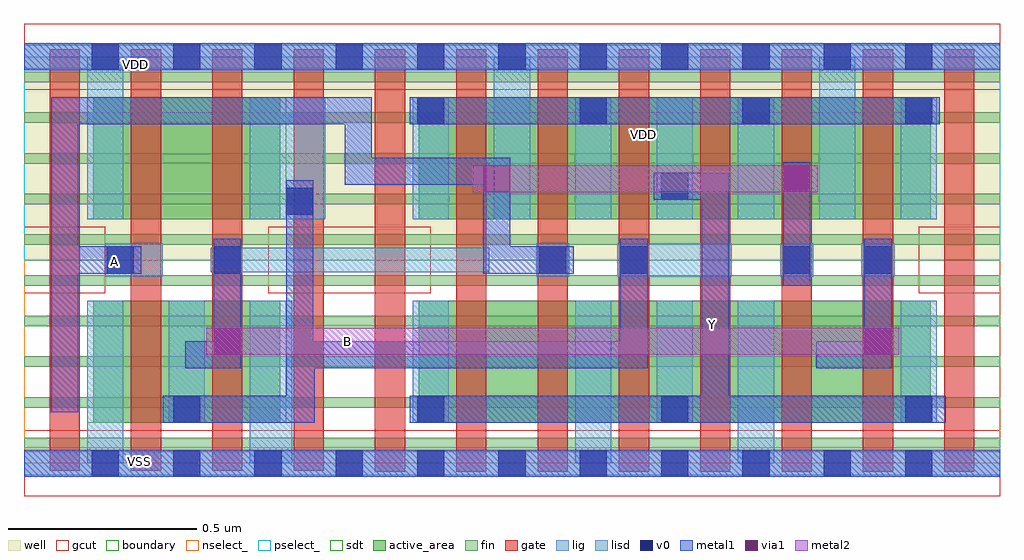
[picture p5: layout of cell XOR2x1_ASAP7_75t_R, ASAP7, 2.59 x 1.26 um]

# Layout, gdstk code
import gdstk
lib = gdstk.Library(unit=1e-6, precision=2.5e-10)
def R(c, l, rs):  # rectangles x0, y0, x1, y1
    for r in rs: c.add(gdstk.rectangle(r[:2], r[2:], *l))
def A(c, l, x, y, w, h, nx, ny, dx, dy):  # array of equal rectangles
    R(c, l, [(x+i*dx, y+j*dy, x+i*dx+w, y+j*dy+h) for i in range(nx) for j in range(ny)])
def P(c, l, *ps):  # polygons
    for p in ps: c.add(gdstk.Polygon(p, *l))
well = (1, 0)
fin = (2, 0)
gate = (7, 0)
gcut = (10, 0)
active_area = (11, 0)
nselect_ = (12, 0)
pselect_ = (13, 0)
lig = (16, 0)
lisd = (17, 0)
v0 = (18, 0)
metal1 = (19, 0)
metal2 = (20, 0)
via1 = (21, 0)
sdt = (88, 0)
boundary = (100, 0)

xor2x1_asap7_75t_r = lib.new_cell('XOR2x1_ASAP7_75t_R')
R(xor2x1_asap7_75t_r, well, [(0,0.54,2.592,1.08)])
A(xor2x1_asap7_75t_r, fin, 0, 0.04, 1.944, 0.028, 1, 10, 0, 0.108)
A(xor2x1_asap7_75t_r, fin, 1.512, 0.04, 1.08, 0.028, 1, 10, 0, 0.108)
A(xor2x1_asap7_75t_r, gate, 0.932, -0.022, 0.08, 1.122, 4, 1, 0.216, 0)
A(xor2x1_asap7_75t_r, gate, 1.796, -0.022, 0.08, 1.122, 4, 1, 0.216, 0)
A(xor2x1_asap7_75t_r, gate, 0.068, -0.02, 0.08, 1.12, 4, 1, 0.216, 0)
R(xor2x1_asap7_75t_r, gate, [(1.58,-0.022,1.66,1.1), (1.796,-0.022,1.876,1.1)])
R(xor2x1_asap7_75t_r, gcut, [(0,-0.088,1.944,0.088), (1.512,-0.088,2.592,0.088), (0,0.452,0.216,0.628), (0.648,0.452,1.08,0.628), (2.376,0.452,2.592,0.628), (0,0.992,1.944,1.168), (1.512,0.992,2.592,1.168)])
R(xor2x1_asap7_75t_r, active_area, [(0.184,0.108,0.68,0.432), (1.048,0.108,1.76,0.432), (1.696,0.108,2.408,0.432), (0.184,0.648,0.68,0.972), (1.048,0.648,1.76,0.972), (1.696,0.648,2.408,0.972)])
R(xor2x1_asap7_75t_r, nselect_, [(0,0,1.944,0.54), (1.512,0,2.592,0.54)])
R(xor2x1_asap7_75t_r, pselect_, [(0,0.54,1.944,1.08), (1.512,0.54,2.592,1.08)])
A(xor2x1_asap7_75t_r, lig, 1.792, 0.496, 0.088, 0.088, 3, 1, 0.216, 0)
R(xor2x1_asap7_75t_r, lig, [(0,-0.032,1.944,0.032), (1.512,-0.032,2.592,0.032), (0.216,0.496,0.368,0.584), (1.36,0.496,1.448,0.584), (1.576,0.496,1.792,0.584), (0.496,0.508,1.236,0.572), (0,1.048,1.944,1.112), (1.512,1.048,2.592,1.112)])
A(xor2x1_asap7_75t_r, lisd, 0.384, 0.108, 0.096, 0.324, 3, 1, 0.648, 0)
R(xor2x1_asap7_75t_r, lisd, [(0.168,0,0.264,0.432), (0.6,0,0.712,0.432), (1.464,0,1.56,0.432), (1.896,0,1.992,0.432), (1.68,0.108,1.776,0.432), (2.328,0.108,2.424,0.432), (0.168,0.648,0.264,1.08), (0.6,0.648,0.8,0.972), (1.032,0.648,1.128,0.972), (1.248,0.648,1.344,1.08), (1.464,0.648,1.56,0.972), (1.68,0.648,1.776,0.972), (1.68,0.648,1.776,0.972), (1.896,0.648,1.992,0.972), (2.112,0.648,2.208,1.08), (2.328,0.648,2.424,0.972)])
A(xor2x1_asap7_75t_r, v0, 0.18, -0.036, 0.072, 0.072, 11, 2, 0.216, 1.08)
A(xor2x1_asap7_75t_r, v0, 0.396, 0.108, 0.072, 0.072, 4, 1, 0.648, 0)
A(xor2x1_asap7_75t_r, v0, 1.044, 0.9, 0.072, 0.072, 4, 1, 0.432, 0)
R(xor2x1_asap7_75t_r, v0, [(0.22,0.504,0.292,0.576), (0.504,0.504,0.576,0.576), (1.368,0.504,1.44,0.576), (1.584,0.504,1.656,0.576), (2.016,0.504,2.088,0.576), (2.232,0.504,2.304,0.576), (0.696,0.66,0.768,0.732), (1.692,0.7,1.764,0.772)])
R(xor2x1_asap7_75t_r, metal1, [(0,-0.036,2.592,0.036), (2.016,0.472,2.088,0.8), (1.024,0.9,2.432,0.972), (0,1.044,2.592,1.116)])
P(xor2x1_asap7_75t_r, metal1, [(0.072,0.136),(0.072,0.972),(0.924,0.972),(0.924,0.812),(1.292,0.812),(1.292,0.576),(1.46,0.576),(1.46,0.504),(1.22,0.504),(1.22,0.74),(0.852,0.74),(0.852,0.9),(0.144,0.9),(0.144,0.576),(0.312,0.576),(0.312,0.504),(0.144,0.504),(0.144,0.136)],
  [(0.428,0.252),(0.428,0.324),(0.504,0.324),(0.504,0.596),(0.576,0.596),(0.576,0.252)],
  [(2.104,0.252),(2.104,0.324),(2.232,0.324),(2.232,0.596),(2.304,0.596),(2.304,0.252)],
  [(0.368,0.108),(0.368,0.18),(0.696,0.18),(0.696,0.752),(0.768,0.752),(0.768,0.324),(1.584,0.324),(1.584,0.596),(1.656,0.596),(1.656,0.252),(0.772,0.252),(0.772,0.108)],
  [(1.024,0.108),(1.024,0.18),(1.8,0.18),(1.8,0.7),(1.672,0.7),(1.672,0.772),(1.872,0.772),(1.872,0.18),(2.448,0.18),(2.448,0.108)])
R(xor2x1_asap7_75t_r, metal2, [(0.484,0.288,2.324,0.36), (1.192,0.72,2.108,0.792)])
R(xor2x1_asap7_75t_r, via1, [(0.504,0.288,0.576,0.36), (2.232,0.288,2.304,0.36), (1.22,0.72,1.292,0.792), (2.016,0.72,2.088,0.792)])
A(xor2x1_asap7_75t_r, sdt, 0.168, 0.108, 0.096, 0.324, 3, 1, 0.216, 0)
A(xor2x1_asap7_75t_r, sdt, 0.168, 0.648, 0.096, 0.324, 3, 1, 0.432, 0)
A(xor2x1_asap7_75t_r, sdt, 1.248, 0.648, 0.096, 0.324, 3, 1, 0.216, 0)
A(xor2x1_asap7_75t_r, sdt, 1.68, 0.648, 0.096, 0.324, 4, 1, 0.216, 0)
R(xor2x1_asap7_75t_r, sdt, [(1.032,0.108,1.128,0.432), (1.464,0.108,1.56,0.432), (1.68,0.108,1.776,0.432), (1.68,0.108,1.776,0.432), (1.896,0.108,1.992,0.432), (2.328,0.108,2.424,0.432)])
R(xor2x1_asap7_75t_r, boundary, [(0,0,2.592,1.08)])
xor2x1_asap7_75t_r.add(gdstk.Label('Y', (1.828,0.368), layer=19, texttype=251))
xor2x1_asap7_75t_r.add(gdstk.Label('VDD', (0.296,1.06), layer=19, texttype=251))
xor2x1_asap7_75t_r.add(gdstk.Label('VSS', (0.308,0.004), layer=19, texttype=251))
xor2x1_asap7_75t_r.add(gdstk.Label('A', (0.24,0.536), layer=19, texttype=251))
xor2x1_asap7_75t_r.add(gdstk.Label('VDD', (1.644,0.872), layer=1, texttype=251))
xor2x1_asap7_75t_r.add(gdstk.Label('VSS', (1.368,-0.18), layer=3, texttype=251))
xor2x1_asap7_75t_r.add(gdstk.Label('B', (0.86,0.324), layer=20, texttype=251))

lib.write_gds('XOR2x1_ASAP7_75t_R.gds')
